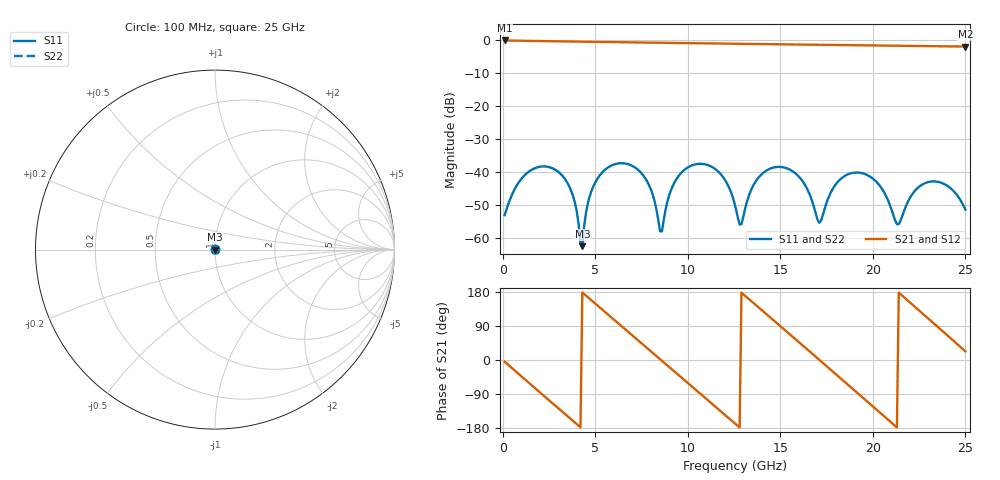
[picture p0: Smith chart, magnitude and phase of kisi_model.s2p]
! kisi T_vna6_cpwg_20: fast channel model (formula impedances, via model), up to 25 GHz
# Hz S RI R 50
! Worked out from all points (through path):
!   250 points, 100 MHz to 25 GHz, reference 50 ohm
!   highest |S21| = -0.03 dB at 100 MHz (marker M1); lowest = -1.9 dB at 25 GHz (marker M2)
!   group delay of S21, straight-line fit = 117 ps
!   lowest |S11| = -62.5 dB at 4.3 GHz (marker M3), VSWR 1.00, Z = 50.1 + j0.0533 ohm
!   |S11| at or under -10 dB: start of sweep to end of sweep
!   |S22| runs from -62.5 to -37.3 dB; largest |S21 - S12| = 0
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1e8  0.00208 0.000749  0.9937 -0.0764  0.9937 -0.0764  0.00208 0.000749
1.4e9  0.00878 0.005  0.4936 -0.8487  0.4936 -0.8487  0.00878 0.005
2.6e9  0.0114 -0.00233  -0.3385 -0.9088  -0.3385 -0.9088  0.0114 -0.00233
3.7e9  0.00334 -0.00394  -0.8811 -0.3802  -0.8811 -0.3802  0.00334 -0.00394
4.3e9  0.000527 0.000532  -0.9538 0.0306  -0.9538 0.0306  0.000527 0.000532
4.8e9  0.00147 0.005  -0.8756 0.3682  -0.8756 0.3682  0.00147 0.005
6e9  0.0112 0.00663  -0.2733 0.8989  -0.2733 0.8989  0.0112 0.00663
7.6e9  0.00774 -0.00422  0.7104 0.5944  0.7104 0.5944  0.00774 -0.00422
8.4e9  0.00164 -0.000956  0.9142 0.1029  0.9142 0.1029  0.00164 -0.000956
8.6e9  0.000998 0.000751  0.9178 -0.0313  0.9178 -0.0313  0.000998 0.000751
1.06e10  0.0123 0.00506  0.0669 -0.9003  0.0669 -0.9003  0.0123 0.00506
1.26e10  0.00246 -0.00123  -0.8735 -0.1593  -0.8735 -0.1593  0.00246 -0.00123
1.29e10  0.00131 0.000956  -0.885 0.0351  -0.885 0.0351  0.00131 0.000956
1.36e10  0.00256 0.00621  -0.7493 0.4627  -0.7493 0.4627  0.00256 0.00621
1.48e10  0.0105 0.00574  -0.1181 0.864  -0.1181 0.864  0.0105 0.00574
1.67e10  0.00345 -0.00145  0.8187 0.2597  0.8187 0.2597  0.00345 -0.00145
1.71e10  0.00158 0.00061  0.8561 0.0101  0.8561 0.0101  0.00158 0.00061
1.89e10  0.00749 0.00617  0.2093 -0.8177  0.2093 -0.8177  0.00749 0.00617
2.09e10  0.00321 -0.000629  -0.7849 -0.2727  -0.7849 -0.2727  0.00321 -0.000629
2.14e10  0.00119 0.0011  -0.8271 0.032  -0.8271 0.032  0.00119 0.0011
2.31e10  0.0045 0.00556  -0.2097 0.7896  -0.2097 0.7896  0.0045 0.00556
2.5e10  0.00266 0.000406  0.7419 0.3133  0.7419 0.3133  0.00266 0.000406
